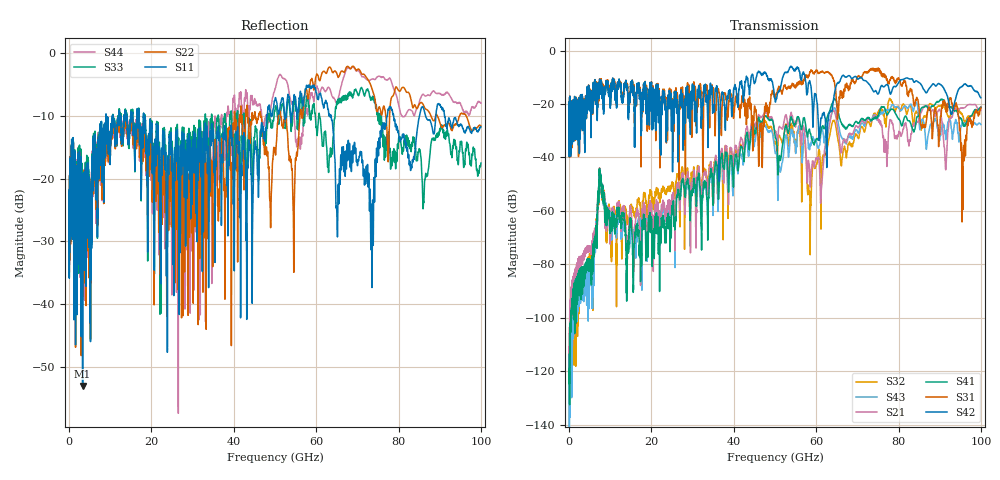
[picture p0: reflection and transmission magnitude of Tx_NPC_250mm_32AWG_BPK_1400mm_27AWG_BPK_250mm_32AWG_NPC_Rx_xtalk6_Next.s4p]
! Info: Touchstone file created by Circ.  Input file=Tx_NPC_250mm_32AWG_BPK_1400mm_27AWG_BPK_250mm_32AWG_NPC_Rx.circ
# Hz S RI R 50
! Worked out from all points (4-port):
!   10000 points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, 10 MHz to 100 GHz, reference 50 ohm
!   strongest paths, dB at 10 MHz, 25.01 GHz, 50.01 GHz, 75.01 GHz, 100 GHz:
!     S42: -25.8, -19.4, -18.4, -16.3, -17.6
!     S31: -25.8, -18.3, -16.8, -6.9, -21.5
!     S41: -119.4, -58.0, -31.8, -24.3, -21.2
!     S21: -118.7, -53.9, -30.6, -25.5, -22.4
!     S43: -128.5, -54.8, -38.1, -25.2, -27.7
!     S32: -121.4, -49.1, -34.6, -23.2, -21.0
!   lowest |S11| = -53.1 dB at 3.29 GHz (marker M1), VSWR 1.00, Z = 49.8 - j0.104 ohm
!   |S11| at or under -10 dB: start of sweep to 8.965 GHz; 18.16 GHz to 47.99 GHz (29.82 GHz wide, 90.2 % of centre); 63.63 GHz to 77.28 GHz (13.65 GHz wide, 19.4 % of centre) (the widest 3 of 33)
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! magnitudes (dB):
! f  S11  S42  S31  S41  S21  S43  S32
! 10 MHz  -21.8  -25.8  -25.8  -119.4  -118.7  -128.5  -121.4
! 3.29 GHz  -53.1  -19.5  -19.5  -87.5  -77.9  -90.2  -86.8
! 7.68 GHz  -15.8  -12.9  -12.3  -46.8  -47.0  -46.7  -46.4
! 17.2 GHz  -12.9  -15.4  -14.6  -72.2  -67.2  -63.8  -57.3
! 47.55 GHz  -13.9  -8.0  -20.8  -24.6  -23.3  -27.8  -26.2
! 58.33 GHz  -5.2  -11.5  -9.1  -29.4  -43.0  -36.2  -53.3
! 100 GHz  -11.7  -17.6  -21.5  -21.2  -22.4  -27.7  -21.0
